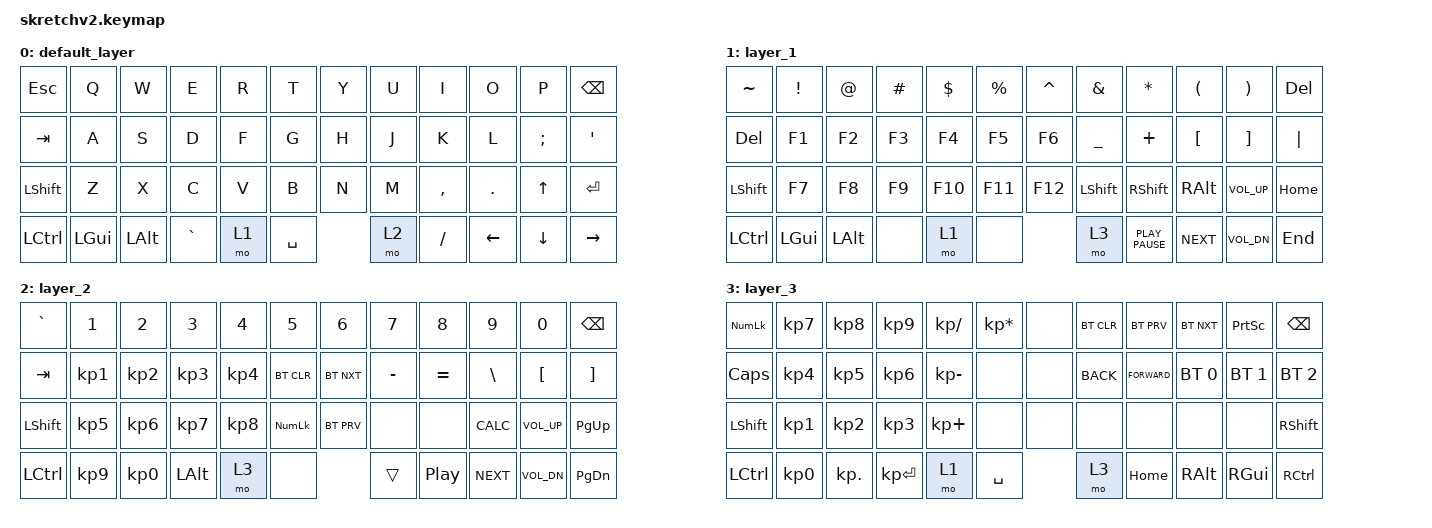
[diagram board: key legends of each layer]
#include <behaviors.dtsi>
#include <dt-bindings/zmk/bt.h>
#include <dt-bindings/zmk/keys.h>

/ {
    keymap {
        compatible = "zmk,keymap";

        default_layer {
            bindings = <
&kp ESC           &kp Q         &kp W         &kp E      &kp R  &kp T      &kp Y  &kp U  &kp I      &kp O     &kp P     &kp BSPC
&kp TAB           &kp A         &kp S         &kp D      &kp F  &kp G      &kp H  &kp J  &kp K      &kp L     &kp SEMI  &kp SQT
&kp LSHFT         &kp Z         &kp X         &kp C      &kp V  &kp B      &kp N  &kp M  &kp COMMA  &kp DOT   &kp UP    &kp RET
&kp LEFT_CONTROL  &kp LEFT_GUI  &kp LEFT_ALT  &kp GRAVE  &mo 1  &kp SPACE         &mo 2  &kp FSLH   &kp LEFT  &kp DOWN  &kp RIGHT
            >;
        };

        layer_1 {
            bindings = <
&kp TILDE       &kp EXCL      &kp AT        &kp HASH  &kp DLLR  &kp PRCNT  &kp CARET  &kp AMPS        &kp STAR          &kp LPAR       &kp RPAR      &kp DELETE
&kp DELETE      &kp F1        &kp F2        &kp F3    &kp F4    &kp F5     &kp F6     &kp UNDER       &kp PLUS          &kp LBKT       &kp RBKT      &kp PIPE
&kp LEFT_SHIFT  &kp F7        &kp F8        &kp F9    &kp F10   &kp F11    &kp F12    &kp LEFT_SHIFT  &kp RSHIFT        &kp RIGHT_ALT  &kp C_VOL_UP  &kp HOME
&kp LCTRL       &kp LEFT_GUI  &kp LEFT_ALT  &none     &mo 1     &none                 &mo 3           &kp K_PLAY_PAUSE  &kp K_NEXT     &kp C_VOL_DN  &kp END
            >;
        };

        layer_2 {
            bindings = <
&kp GRAVE         &kp N1           &kp N2           &kp N3           &kp N4           &kp N5      &kp N6      &kp N7     &kp N8            &kp N9         &kp N0            &kp BACKSPACE
&kp TAB           &kp KP_NUMBER_1  &kp KP_NUMBER_2  &kp KP_NUMBER_3  &kp KP_NUMBER_4  &bt BT_CLR  &bt BT_NXT  &kp MINUS  &kp EQUAL         &kp BACKSLASH  &kp LEFT_BRACKET  &kp RIGHT_BRACKET
&kp LEFT_SHIFT    &kp KP_NUMBER_5  &kp KP_NUMBER_6  &kp KP_NUMBER_7  &kp KP_NUMBER_8  &kp KP_NUM  &bt BT_PRV  &none      &none             &kp K_CALC     &kp C_VOL_UP      &kp PAGE_UP
&kp LEFT_CONTROL  &kp KP_NUMBER_9  &kp KP_NUMBER_0  &kp LEFT_ALT     &mo 3            &none                   &trans     &kp C_PLAY_PAUSE  &kp C_NEXT     &kp C_VOL_DN      &kp PAGE_DOWN
            >;
        };

        layer_3 {
            bindings = <
&kp KP_NUMLOCK    &kp KP_NUMBER_7  &kp KP_NUMBER_8  &kp KP_NUMBER_9  &kp KP_DIVIDE  &kp KP_MULTIPLY  &none  &bt BT_CLR  &bt BT_PRV     &bt BT_NXT     &kp PSCRN      &kp BACKSPACE
&kp CAPSLOCK      &kp KP_NUMBER_4  &kp KP_NUMBER_5  &kp KP_NUMBER_6  &kp KP_MINUS   &none            &none  &kp K_BACK  &kp K_FORWARD  &bt BT_SEL 0   &bt BT_SEL 1   &bt BT_SEL 2
&kp LEFT_SHIFT    &kp KP_NUMBER_1  &kp KP_NUMBER_2  &kp KP_NUMBER_3  &kp KP_PLUS    &none            &none  &none       &none          &none          &none          &kp RIGHT_SHIFT
&kp LEFT_CONTROL  &kp KP_NUMBER_0  &kp KP_DOT       &kp KP_ENTER     &mo 1          &kp SPACE               &mo 3       &kp HOME       &kp RIGHT_ALT  &kp RIGHT_GUI  &kp RIGHT_CONTROL
            >;
        };
    };
};
